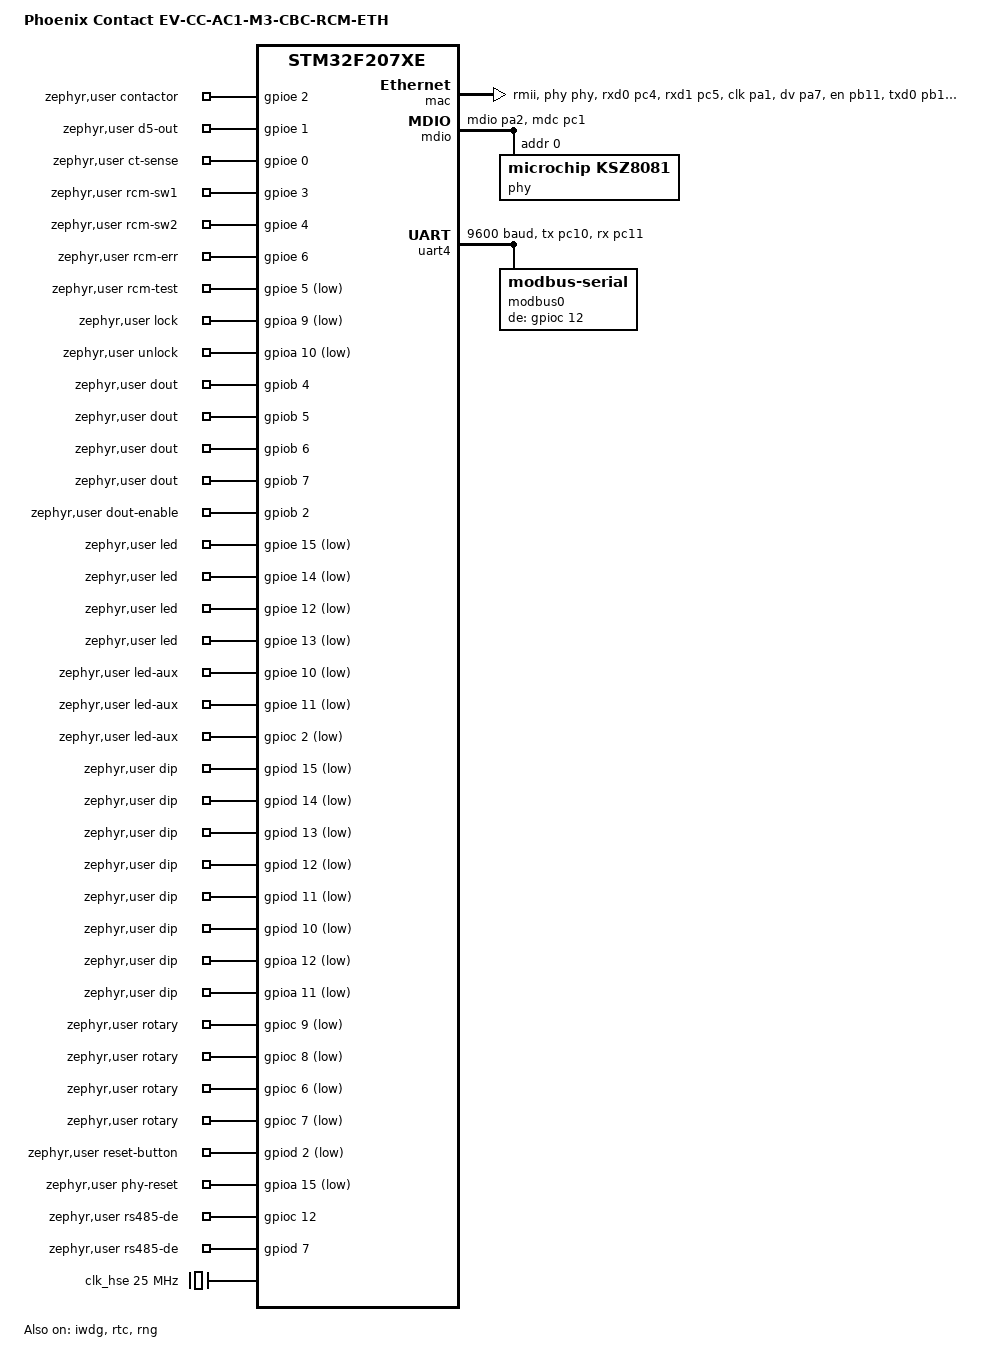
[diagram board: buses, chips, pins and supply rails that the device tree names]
/* SPDX-License-Identifier: Apache-2.0 */
/*
 * Board-Beschreibung der Steuerung EV-CC-AC1-M3-CBC-RCM-ETH.
 * Belege: wallbe2/docs/takt-adc-gpio.md, ethernet-phy.md, firmware-ladeadresse.md.
 * Auf der Steuerung einer wallbe Eco 2.0 in Betrieb (docs/implementierung.md).
 * Flash-Aufteilung: docs/architektur.md (Sektoren 0..2 Bootloader,
 * Sektor 3 Originalparameter, Anwendung ab 0x08010000, Parameter in Sektor 7).
 */
/dts-v1/;
#include <st/f2/stm32f207Xe.dtsi>
#include <st/f2/stm32f207v(c-e-f-g)tx-pinctrl.dtsi>
#include <zephyr/dt-bindings/gpio/gpio.h>

/ {
	model = "Phoenix Contact EV-CC-AC1-M3-CBC-RCM-ETH";
	compatible = "phoenix,ev-cc-ac1";

	chosen {
		zephyr,sram = &sram0;
		zephyr,flash = &flash0;
		zephyr,code-partition = &app_partition;
		zephyr,entropy = &rng;
	};

	/*
	 * Pins der Ladelogik (Firmwarebefunde des Originals, keine Schaltplanbestaetigung;
	 * Soll-Spezifikation Abschnitt 2). TIM1 (PE9), ADC1 und DMA2 Stream0 konfiguriert
	 * die Anwendung direkt (LL), daher hier ohne Zephyr-Treiberknoten.
	 */
	zephyr,user {
		contactor-gpios = <&gpioe 2 GPIO_ACTIVE_HIGH>;        /* PE2 Schuetz (C1/C2) */
		d5-out-gpios = <&gpioe 1 GPIO_ACTIVE_HIGH>;           /* PE1, Ziel offen */
		ct-sense-gpios = <&gpioe 0 GPIO_ACTIVE_HIGH>;         /* PE0 Klemme CT [HYP] */
		rcm-sw1-gpios = <&gpioe 3 GPIO_ACTIVE_HIGH>;          /* SWITCH_1, High = ausgeloest [HYP] */
		rcm-sw2-gpios = <&gpioe 4 GPIO_ACTIVE_HIGH>;          /* SWITCH_2 */
		rcm-err-gpios = <&gpioe 6 GPIO_ACTIVE_HIGH>;          /* ERR_OUT */
		rcm-test-gpios = <&gpioe 5 (GPIO_OPEN_DRAIN | GPIO_ACTIVE_LOW | GPIO_PULL_UP)>; /* TEST_IN */
		lock-gpios = <&gpioa 9 GPIO_ACTIVE_LOW>;              /* R1/R2 Verriegeln, Low-Impuls */
		unlock-gpios = <&gpioa 10 GPIO_ACTIVE_LOW>;           /* Entriegeln */
		dout-gpios = <&gpiob 4 GPIO_ACTIVE_HIGH>,             /* ER */
			     <&gpiob 5 GPIO_ACTIVE_HIGH>,             /* LR */
			     <&gpiob 6 GPIO_ACTIVE_HIGH>,             /* VR */
			     <&gpiob 7 GPIO_ACTIVE_HIGH>;             /* CR */
		dout-enable-gpios = <&gpiob 2 GPIO_ACTIVE_HIGH>;      /* DRV8844 nSLEEP [HYP] */
		led-gpios = <&gpioe 15 GPIO_ACTIVE_LOW>,              /* Power */
			    <&gpioe 14 GPIO_ACTIVE_LOW>,              /* Error */
			    <&gpioe 12 GPIO_ACTIVE_LOW>,              /* Connect */
			    <&gpioe 13 GPIO_ACTIVE_LOW>;              /* Ready */
		led-aux-gpios = <&gpioe 10 GPIO_ACTIVE_LOW>,          /* Modem, aus */
				<&gpioe 11 GPIO_ACTIVE_LOW>,
				<&gpioc 2 GPIO_ACTIVE_LOW>;           /* Netzwerk [HYP] */
		dip-gpios = <&gpiod 15 (GPIO_ACTIVE_LOW | GPIO_PULL_UP)>, /* D1 */
			    <&gpiod 14 (GPIO_ACTIVE_LOW | GPIO_PULL_UP)>,
			    <&gpiod 13 (GPIO_ACTIVE_LOW | GPIO_PULL_UP)>,
			    <&gpiod 12 (GPIO_ACTIVE_LOW | GPIO_PULL_UP)>,
			    <&gpiod 11 (GPIO_ACTIVE_LOW | GPIO_PULL_UP)>,
			    <&gpiod 10 (GPIO_ACTIVE_LOW | GPIO_PULL_UP)>,
			    <&gpioa 12 (GPIO_ACTIVE_LOW | GPIO_PULL_UP)>,
			    <&gpioa 11 (GPIO_ACTIVE_LOW | GPIO_PULL_UP)>,
			    <&gpiob 15 (GPIO_ACTIVE_LOW | GPIO_PULL_UP)>,
			    <&gpiob 14 (GPIO_ACTIVE_LOW | GPIO_PULL_UP)>; /* D10 */
		rotary-gpios = <&gpioc 9 (GPIO_ACTIVE_LOW | GPIO_PULL_UP)>, /* Bit 0 */
			       <&gpioc 8 (GPIO_ACTIVE_LOW | GPIO_PULL_UP)>,
			       <&gpioc 6 (GPIO_ACTIVE_LOW | GPIO_PULL_UP)>,
			       <&gpioc 7 (GPIO_ACTIVE_LOW | GPIO_PULL_UP)>; /* Bit 3 */
		reset-button-gpios = <&gpiod 2 GPIO_ACTIVE_LOW>;      /* [HYP] */
		phy-reset-gpios = <&gpioa 15 GPIO_ACTIVE_LOW>;        /* [HYP] PHY RST# */
		/* Low beim Start (SOLL-IO-01); PC12 uebernimmt danach der Zaehlerbus,
		 * falls ein Zaehler konfiguriert ist (modbus0 unten) */
		rs485-de-gpios = <&gpioc 12 GPIO_ACTIVE_HIGH>,
				 <&gpiod 7 GPIO_ACTIVE_HIGH>;
	};
};

/* HSE 25 MHz (Quarz laut Nutzer); 25/25*200/2 = 100 MHz wie Original (Nutzer 2026-10-19) */
&clk_hse {
	clock-frequency = <DT_FREQ_M(25)>;
	status = "okay";
};

&pll {
	div-m = <25>;
	mul-n = <200>;
	div-p = <2>;
	div-q = <5>;
	clocks = <&clk_hse>;
	status = "okay";
};

&rcc {
	clocks = <&pll>;
	clock-frequency = <DT_FREQ_M(100)>;
	ahb-prescaler = <1>;
	apb1-prescaler = <4>;
	apb2-prescaler = <2>;
};

/* RMII: PC1 MDC, PA2 MDIO, PA1 REF_CLK, PA7 CRS_DV, PC4/PC5 RXD, PB11 TX_EN, PB12/PB13 TXD */
&mac {
	status = "okay";
	pinctrl-0 = <&eth_rxd0_pc4 &eth_rxd1_pc5 &eth_ref_clk_pa1 &eth_crs_dv_pa7
		     &eth_tx_en_pb11 &eth_txd0_pb12 &eth_txd1_pb13>;
	pinctrl-names = "default";
	phy-connection-type = "rmii";
	phy-handle = <&phy>;
};

&mdio {
	status = "okay";
	pinctrl-0 = <&eth_mdio_pa2 &eth_mdc_pc1>;
	pinctrl-names = "default";

	/*
	 * KSZ8081RND, Adresse 0, 25-MHz-Modus (XI ueber 470 Ohm an PA8/MCO1, Durchgang belegt).
	 * "rmii", nicht "rmii-25MHz": der Treiber setzt Reg. 0x1F Bit 7 nach der Logik des RNA
	 * (1 nur bei "rmii"); beim RND waehlt Bit 7 = 1 den 25-MHz-Modus (Datenblatt 3.2.2.1,
	 * Original 0x8180). Mit "rmii-25MHz" fehlte REF_CLK (Testgeraet 2026-10-24).
	 */
	phy: ethernet-phy@0 {
		compatible = "microchip,ksz8081";
		reg = <0x00>;
		microchip,interface-type = "rmii";
	};
};

/* CP-PWM (TIM1 CH1, PE9) und ADC1/DMA2: direkt in der Anwendung, siehe app/src/hw_stm32.c */

/*
 * RS-485 an Klemme A/B: UART4 PC10/PC11, Treiberfreigabe PC12 (Testgeraet geprueft,
 * wallbe2 Belege 9). Energiezaehler, nur Anzeige (Soll-Spezifikation 12.5).
 * Baudrate und Rahmenformat setzt die Anwendung (meter_*).
 */
&uart4 {
	status = "okay";
	pinctrl-0 = <&uart4_tx_pc10 &uart4_rx_pc11>;
	pinctrl-names = "default";
	current-speed = <9600>;

	modbus0 {
		compatible = "zephyr,modbus-serial";
		status = "okay";
		de-gpios = <&gpioc 12 GPIO_ACTIVE_HIGH>;
	};
};

&iwdg {
	status = "okay";
};

&rtc {
	status = "okay";
};

&backup_sram {
	status = "okay";
};

&flash0 {
	reg = <0x08000000 DT_SIZE_K(512)>;

	partitions {
		compatible = "fixed-partitions";
		#address-cells = <1>;
		#size-cells = <1>;

		/* Sektoren 0..2: vorhandener Bootloader (nicht anfassen) */
		bootloader_partition: partition@0 {
			label = "bootloader";
			reg = <0x00000000 DT_SIZE_K(48)>;
			read-only;
		};

		/* Sektor 3: Parameter der Originalfirmware (nur lesen) */
		orig_params_partition: partition@c000 {
			label = "orig-params";
			reg = <0x0000c000 DT_SIZE_K(16)>;
			read-only;
		};

		/* Sektoren 4..6: Anwendung (64 + 128 + 128 KB) */
		app_partition: partition@10000 {
			label = "app";
			reg = <0x00010000 DT_SIZE_K(320)>;
		};

		/* Sektor 7: eigene Parameter (Option P1, vorbereiten) */
		storage_partition: partition@60000 {
			label = "storage";
			reg = <0x00060000 DT_SIZE_K(128)>;
		};
	};
};

/* Hardware-Zufallsgenerator (TCP-Sequenznummern, Ports) */
&rng {
	status = "okay";
};
